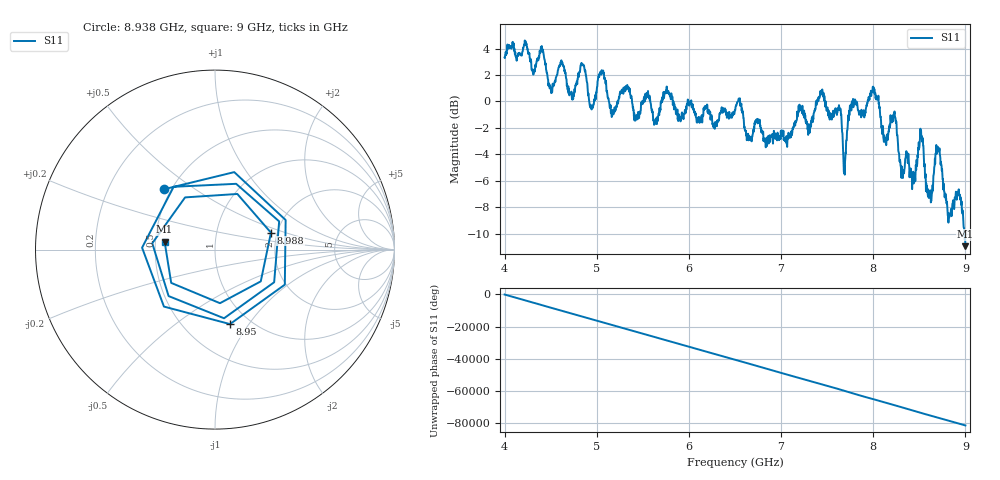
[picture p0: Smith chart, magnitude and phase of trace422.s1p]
! Created with skrf 1.8.0 (http://scikit-rf.org).
# Hz S RI R 50.0
!freq ReS11 ImS11
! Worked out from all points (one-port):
!   1601 points, 4 GHz to 9 GHz, reference 50 ohm
!   lowest |S11| = -10.9 dB at 9 GHz (marker M1), VSWR 1.79, Z = 28 + j2.69 ohm
!   |S11| at or under -10 dB: 8.989838 GHz to end of sweep
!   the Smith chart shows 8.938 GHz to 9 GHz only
!   S11 on the Smith chart (normalised r, x): 8.938 GHz: 0.46, +0.38; 8.95 GHz: 0.81, -0.82; 8.988 GHz: 1.85, +0.39; 9 GHz: 0.56, +0.05
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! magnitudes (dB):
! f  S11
! 4 GHz  3.3
! 4.403 GHz  4.2
! 4.506 GHz  0.6
! 4.625 GHz  2.9
! 4.725 GHz  0.7
! 4.85 GHz  2.8
! 4.944 GHz  -0.6
! 5.053 GHz  2.4
! 5.162 GHz  -1.2
! 5.25 GHz  0.6
! 5.875 GHz  -0.6
! 6.5 GHz  -0.6
! 7.125 GHz  -2.0
! 7.447 GHz  0.9
! 7.631 GHz  -0.4
! 7.691 GHz  -5.5
! 7.75 GHz  -0.4
! 8.006 GHz  0.7
! 8.375 GHz  -4.7
! 8.441 GHz  -5.9
! 8.519 GHz  -2.2
! 8.616 GHz  -7.2
! 8.7 GHz  -3.4
! 8.819 GHz  -8.7
! 8.938 GHz  -7.1
! 8.95 GHz  -7.5
! 8.988 GHz  -9.7
! 9 GHz  -10.9
